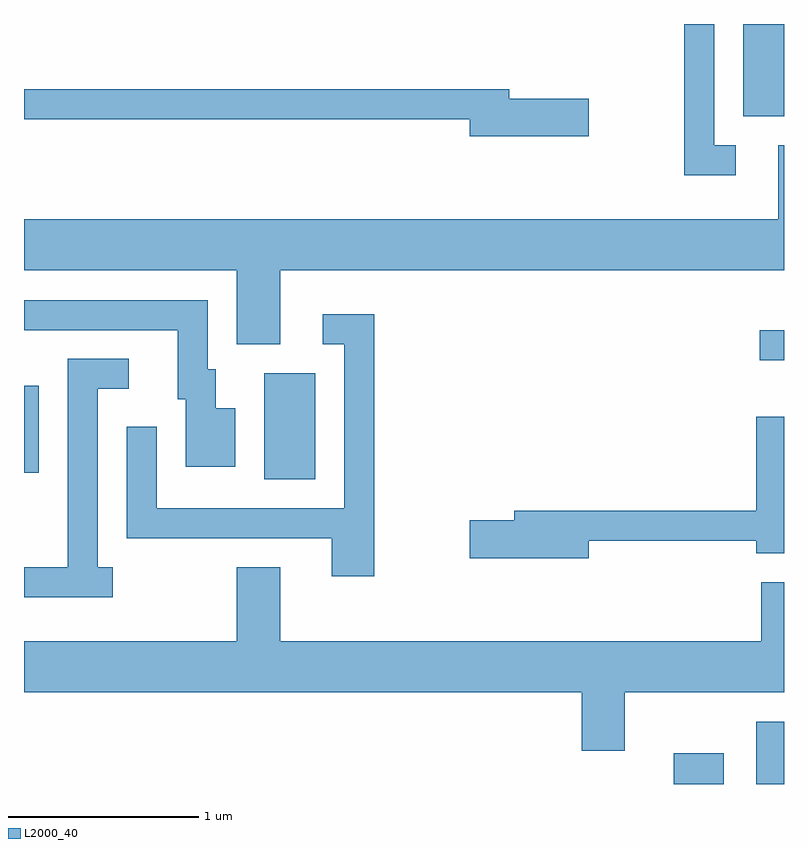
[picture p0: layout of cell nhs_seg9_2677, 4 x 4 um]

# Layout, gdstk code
import gdstk
lib = gdstk.Library(unit=1e-6, precision=1e-09)
def R(c, l, rs):  # rectangles x0, y0, x1, y1
    for r in rs: c.add(gdstk.rectangle(r[:2], r[2:], *l))
def P(c, l, *ps):  # polygons
    for p in ps: c.add(gdstk.Polygon(p, *l))
L2000_40 = (2000, 40)

nhs_seg9_2677 = lib.new_cell('nhs_seg9_2677')
R(nhs_seg9_2677, L2000_40, [(267.031,2002.432,267.294,2002.594), (267.466,2002.432,267.611,2002.759), (264.876,2004.036,265.144,2004.594), (263.611,2004.071,263.689,2004.529), (267.483,2004.661,267.611,2004.819), (267.396,2005.946,267.611,2006.432)])
P(nhs_seg9_2677, L2000_40, [(267.358,2005.794),(267.244,2005.794),(267.244,2006.432),(267.086,2006.432),(267.086,2005.636),(267.358,2005.636)],
  [(266.584,2006.039),(266.164,2006.039),(266.164,2006.089),(263.611,2006.089),(263.611,2005.931),(265.956,2005.931),(265.956,2005.841),(266.584,2005.841)],
  [(264.959,2005.136),(267.611,2005.136),(267.611,2005.794),(267.581,2005.794),(267.581,2005.404),(263.611,2005.404),(263.611,2005.136),(264.731,2005.136),(264.731,2004.746),(264.959,2004.746)],
  [(264.724,2004.409),(264.619,2004.409),(264.619,2004.614),(264.579,2004.614),(264.579,2004.979),(263.611,2004.979),(263.611,2004.821),(264.421,2004.821),(264.421,2004.456),(264.461,2004.456),(264.461,2004.101),(264.724,2004.101)],
  [(265.454,2004.904),(265.183,2004.904),(265.183,2004.746),(265.296,2004.746),(265.296,2003.884),(264.309,2003.884),(264.309,2004.313),(264.151,2004.313),(264.151,2003.726),(265.231,2003.726),(265.231,2003.526),(265.454,2003.526)],
  [(264.078,2003.574),(263.999,2003.574),(263.999,2004.511),(264.163,2004.511),(264.163,2004.669),(263.841,2004.669),(263.841,2003.574),(263.611,2003.574),(263.611,2003.416),(264.078,2003.416)],
  [(266.584,2003.711),(267.466,2003.711),(267.466,2003.646),(267.611,2003.646),(267.611,2004.364),(267.466,2004.364),(267.466,2003.869),(266.191,2003.869),(266.191,2003.819),(265.956,2003.819),(265.956,2003.621),(266.584,2003.621)],
  [(266.774,2002.916),(267.611,2002.916),(267.611,2003.494),(267.491,2003.494),(267.491,2003.184),(264.959,2003.184),(264.959,2003.574),(264.731,2003.574),(264.731,2003.184),(263.611,2003.184),(263.611,2002.916),(266.546,2002.916),(266.546,2002.606),(266.774,2002.606)])

lib.write_gds('nhs_seg9_2677.gds')
